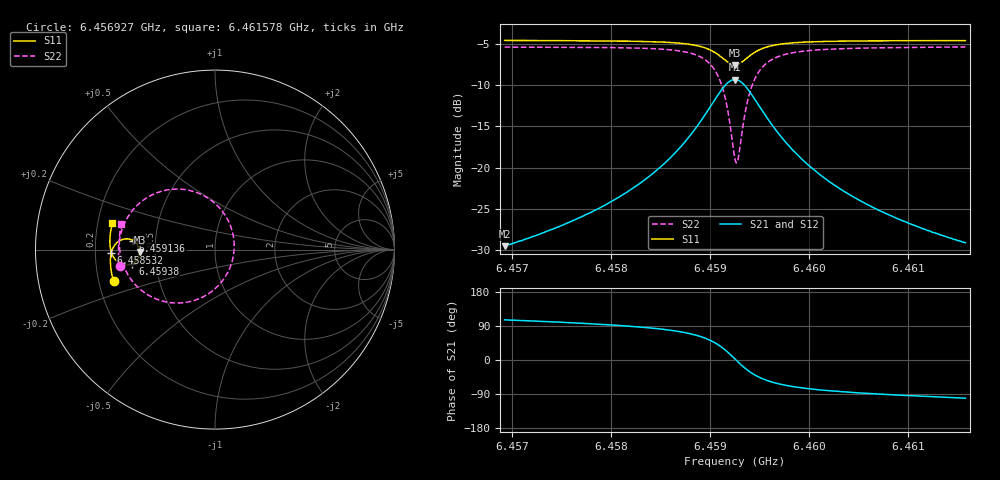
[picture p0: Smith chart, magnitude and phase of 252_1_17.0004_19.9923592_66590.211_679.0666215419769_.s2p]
#  HZ  S  RI  R  50.00
! Rohde & Schwarz Vector Network Analyzer
! Rohde-Schwarz,ZNB20-2Port,1311601062101988,3.16
! Created: UTC 3/20/2024, 11:03:19 PM
! freq[Hz]  re:S11  im:S11  re:S21  im:S21  re:S12  im:S12  re:S22  im:S22
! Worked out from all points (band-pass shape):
!   401 points, 6.456927 GHz to 6.461578 GHz, reference 50 ohm
!   highest |S21| = -9.30 dB at 6.459253 GHz (marker M1); lowest = -29.6 dB at 6.456927 GHz (marker M2)
!   |S21| within 3 dB of the highest: 6.45902 GHz to 6.459485 GHz (464.6 kHz wide, 0.00719 % of centre)
!   lowest |S11| = -7.5 dB at 6.459253 GHz (marker M3), VSWR 2.45, Z = 20.5 - j0.623 ohm
!   |S11| at or under -10 dB: nowhere
!   |S22| runs from -19.4 to -5.3 dB; largest |S21 - S12| = 0.013
!   S11 on the Smith chart (normalised r, x): 6.456927 GHz: 0.26, -0.14; 6.458532 GHz: 0.27, -0.01; 6.459136 GHz: 0.37, +0.05; 6.45938 GHz: 0.37, -0.07; 6.461578 GHz: 0.26, +0.12
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6.4569269e9  -0.5651 -0.1769  -0.00923 0.0319  -0.00742 0.0321  -0.5313 -0.0934
6.457706e9  -0.5799 -0.1089  -0.00604 0.0498  -0.00353 0.0494  -0.5379 -0.00276
6.4581362e9  -0.5831 -0.0662  -0.000197 0.0692  0.00294 0.068  -0.5305 0.065
6.4584851e9  -0.5797 -0.0247  0.0133 0.098  0.0173 0.0954  -0.506 0.143
6.4585316e9  -0.5783 -0.0184  0.0166 0.1033  0.0207 0.1005  -0.4998 0.1562
6.4587525e9  -0.5653 0.0155  0.0447 0.1373  0.0488 0.1324  -0.4475 0.2326
6.4589037e9  -0.5429 0.0418  0.0894 0.1681  0.0928 0.1613  -0.365 0.2975
6.4590432e9  -0.4994 0.0598  0.1759 0.1848  0.177 0.1775  -0.2069 0.3374
6.4591362e9  -0.4552 0.0498  0.2655 0.1543  0.2659 0.1484  -0.041 0.2882
6.4591827e9  -0.4341 0.0313  0.3092 0.1117  0.3104 0.1067  0.0417 0.2128
6.4592525e9  -0.4193 -0.0125  0.3425 0.0157  0.3462 0.00888  0.1068 0.0344
6.4592641e9  -0.4197 -0.0206  0.3422 -0.00189  0.3461 -0.0095  0.1066 0.00111
6.4592874e9  -0.4231 -0.0359  0.3369 -0.0364  0.3408 -0.0454  0.0958 -0.0644
6.4593339e9  -0.4387 -0.0618  0.3088 -0.096  0.3109 -0.1076  0.0392 -0.1768
6.4593804e9  -0.4604 -0.0779  0.2672 -0.1367  0.2665 -0.1499  -0.045 -0.2514
6.4594734e9  -0.5033 -0.0847  0.1833 -0.1679  0.1772 -0.1794  -0.2121 -0.2976
6.4596246e9  -0.5469 -0.0642  0.0962 -0.1546  0.0879 -0.1609  -0.3785 -0.2495
6.4597874e9  -0.5683 -0.0368  0.0516 -0.1273  0.044 -0.1301  -0.4587 -0.1783
6.4600316e9  -0.581 -0.00117  0.0225 -0.0962  0.0168 -0.0968  -0.5067 -0.0964
6.4603804e9  -0.5857 0.04  0.00654 -0.0698  0.00258 -0.0693  -0.5285 -0.0174
6.4608107e9  -0.5838 0.083  -0.00123 -0.0514  -0.00402 -0.0507  -0.5331 0.0509
6.4615781e9  -0.5716 0.1508  -0.00653 -0.0343  -0.00806 -0.0334  -0.5219 0.1411
